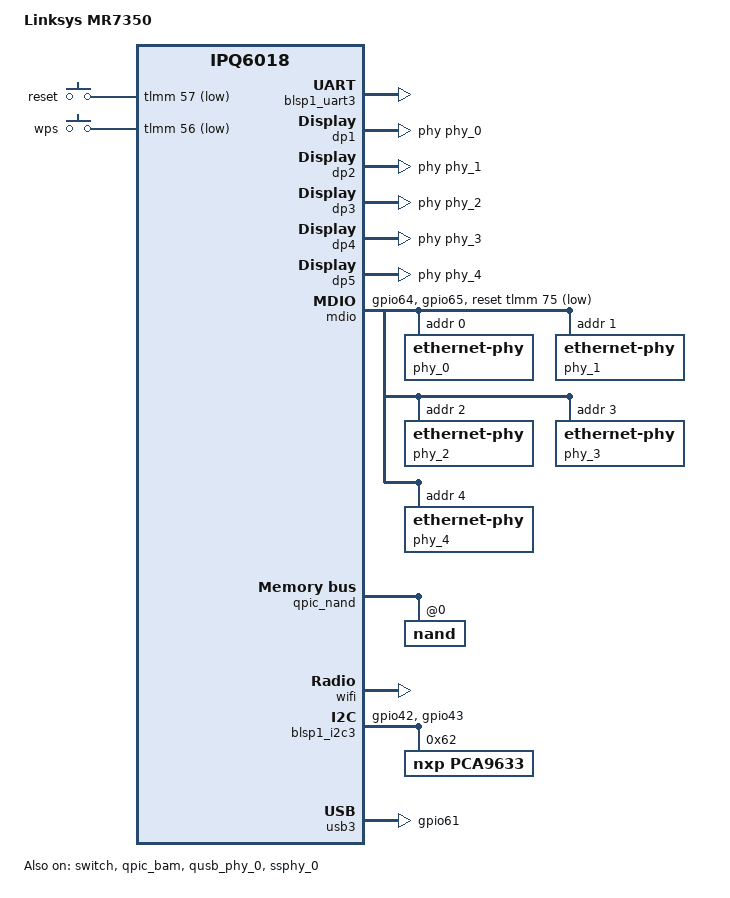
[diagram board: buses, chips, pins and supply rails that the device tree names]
// SPDX-License-Identifier: (GPL-2.0+)

/dts-v1/;

#include "ipq6018.dtsi"
#include "ipq6018-upstreamable.dtsi"
#include "ipq6018-regulator-mp5496.dtsi"
#include "ipq6018-ess.dtsi"

#include <dt-bindings/input/input.h>
#include <dt-bindings/gpio/gpio.h>

/ {
	model = "Linksys MR7350";
	compatible = "linksys,mr7350", "qcom,ipq6018";

	aliases {
		serial0 = &blsp1_uart3;
		led-boot = &led_blue;
		led-failsafe = &led_green;
		led-running = &led_blue;
		led-upgrade = &led_red;
	};

	chosen {
		stdout-path = "serial0:115200n8";
		bootargs-append = " ubi.block=0,rootfs root=/dev/ubiblock0_0";
	};

	keys {
		compatible = "gpio-keys";

		reset {
			label = "reset";
			gpios = <&tlmm 57 GPIO_ACTIVE_LOW>;
			linux,code = <KEY_RESTART>;
		};

		wps {
			label = "wps";
			gpios = <&tlmm 56 GPIO_ACTIVE_LOW>;
			linux,code = <KEY_WPS_BUTTON>;
		};
	};
};

&blsp1_uart3 {
	pinctrl-0 = <&serial_3_pins>;
	pinctrl-names = "default";
	status = "okay";
};

&tlmm {
	i2c3_pins: i2c3-pins {
		pins = "gpio42", "gpio43";
		function = "blsp2_i2c";
		drive-strength = <8>;
	};

	mdio_pins: mdio-pins {
		mdc {
			pins = "gpio64";
			function = "mdc";
			drive-strength = <8>;
			bias-pull-up;
		};

		mdio {
			pins = "gpio65";
			function = "mdio";
			drive-strength = <8>;
			bias-pull-up;
		};
	};

	usb_power_pins: usb_power_pins {
		mux {
			pins = "gpio61";
			function = "gpio";
			bias-disable;
			output-low;
		};
	};
};

&dp1 {
	phy-handle = <&phy_0>;
	status = "okay";
};

&dp2 {
	phy-handle = <&phy_1>;
	status = "okay";
};

&dp3 {
	phy-handle = <&phy_2>;
	status = "okay";
};

&dp4 {
	phy-handle = <&phy_3>;
	status = "okay";
};

&dp5 {
	phy-handle = <&phy_4>;
	status = "okay";
};

&edma {
	status = "okay";
};

&mdio {
	status = "okay";
	pinctrl-0 = <&mdio_pins>;
	pinctrl-names = "default";
	reset-gpios = <&tlmm 75 GPIO_ACTIVE_LOW>;

	phy_0: ethernet-phy@0 {
		reg = <0>;
	};

	phy_1: ethernet-phy@1 {
		reg = <1>;
	};

	phy_2: ethernet-phy@2 {
		reg = <2>;
	};

	phy_3: ethernet-phy@3 {
		reg = <3>;
	};

	phy_4: ethernet-phy@4 {
		reg = <4>;
	};

};

&switch {
	status = "okay";

	switch_lan_bmp = <0x1e>;
	switch_wan_bmp = <0x20>;
	switch_mac_mode = <MAC_MODE_PSGMII>;

	qcom,port_phyinfo {
		port@0 {
			port_id = <1>;
			phy_address = <0>;
		};
		port@1 {
			port_id = <2>;
			phy_address = <1>;
		};
		port@2 {
			port_id = <3>;
			phy_address = <2>;
		};
		port@3 {
			port_id = <4>;
			phy_address = <3>;
		};
		port@4 {
			port_id = <5>;
			phy_address = <4>;
		};
	};
};

&qpic_bam {
	status = "okay";
};

&qpic_nand {
	status = "okay";

	nand@0 {
		reg = <0>;

		nand-ecc-strength = <4>;
		nand-ecc-step-size = <512>;
		nand-bus-width = <8>;
	};
};

&wifi {
	status = "okay";
	qcom,ath11k-calibration-variant = "Linksys-MR7350";
};

&blsp1_i2c3 {
	pinctrl-0 = <&i2c3_pins>;
	pinctrl-names = "default";
	status = "okay";

	pca9633: pca9633 {
		compatible = "nxp,pca9633";
		#address-cells = <1>;
		#size-cells = <0>;
		reg = <0x62>;

		led_red: red@0 {
			label = "red";
			reg = <0>;
		};
		led_green: green@1 {
			label = "green";
			reg = <1>;
		};
		led_blue: blue@2 {
			label = "blue";
			reg = <2>;
		};
	};
};

&qusb_phy_0 {
	status = "okay";
};

&ssphy_0 {
	status = "okay";
};

&usb3 {
	pinctrl-0 = <&usb_power_pins>;
	pinctrl-names = "default";
	status = "okay";
};
